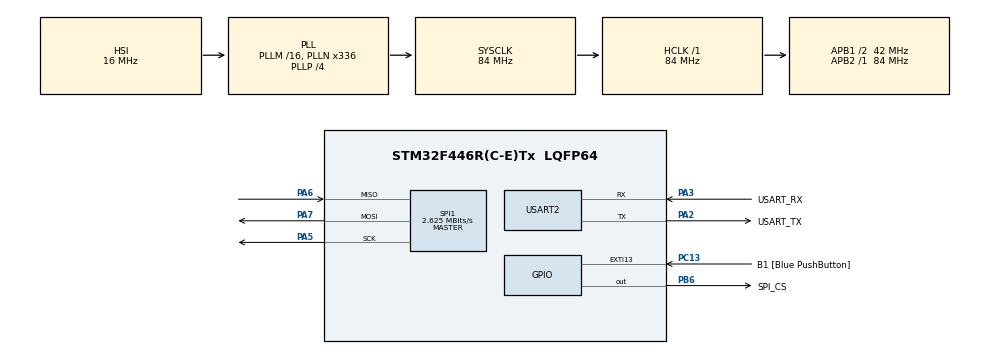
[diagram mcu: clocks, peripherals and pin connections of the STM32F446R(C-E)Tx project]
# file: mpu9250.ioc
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Mcu.Family=STM32F4
Mcu.Name=STM32F446R(C-E)Tx
Mcu.Package=LQFP64
NVIC.PriorityGroup=NVIC_PRIORITYGROUP_0
NVIC.TIM3_IRQn=true\:0\:0\:false\:false\:true\:true\:true\:true
PA13.GPIO_Label=TMS
PA13.Mode=Serial_Wire
PA13.Signal=SYS_JTMS-SWDIO
PA14.GPIO_Label=TCK
PA14.Mode=Serial_Wire
PA14.Signal=SYS_JTCK-SWCLK
PA2.GPIO_Label=USART_TX
PA2.Mode=Asynchronous
PA2.Signal=USART2_TX
PA3.GPIO_Label=USART_RX
PA3.Mode=Asynchronous
PA3.Signal=USART2_RX
PA5.Mode=Full_Duplex_Master
PA5.Signal=SPI1_SCK
PA6.Mode=Full_Duplex_Master
PA6.Signal=SPI1_MISO
PA7.Mode=Full_Duplex_Master
PA7.Signal=SPI1_MOSI
PB3.GPIO_Label=SWO
PB3.Signal=SYS_JTDO-SWO
PB6.GPIO_Label=SPI_CS
PB6.Signal=GPIO_Output
PC13.GPIO_Label=B1 [Blue PushButton]
PC13.GPIO_ModeDefaultEXTI=GPIO_MODE_IT_FALLING
PC13.Signal=GPXTI13
PC14-OSC32_IN.Mode=LSE-External-Oscillator
PC14-OSC32_IN.Signal=RCC_OSC32_IN
PC15-OSC32_OUT.Mode=LSE-External-Oscillator
PC15-OSC32_OUT.Signal=RCC_OSC32_OUT
PH0-OSC_IN.Mode=HSE-External-Oscillator
PH0-OSC_IN.Signal=RCC_OSC_IN
PH1-OSC_OUT.Mode=HSE-External-Oscillator
PH1-OSC_OUT.Signal=RCC_OSC_OUT
ProjectManager.HeapSize=0x200
ProjectManager.StackSize=0x400
ProjectManager.TargetToolchain=STM32CubeIDE
RCC.48MHZClocksFreq_Value=84000000
RCC.AHBFreq_Value=84000000
RCC.APB1CLKDivider=RCC_HCLK_DIV2
RCC.APB1Freq_Value=42000000
RCC.APB1TimFreq_Value=84000000
RCC.APB2Freq_Value=84000000
RCC.APB2TimFreq_Value=84000000
RCC.CortexFreq_Value=84000000
RCC.FLatency-AdvancedSettings=FLASH_LATENCY_2
RCC.HCLKFreq_Value=84000000
RCC.HSE_VALUE=8000000
RCC.HSI_VALUE=16000000
RCC.PLLN=336
RCC.PLLP=RCC_PLLP_DIV4
RCC.SYSCLKFreq_VALUE=84000000
RCC.SYSCLKSource=RCC_SYSCLKSOURCE_PLLCLK
RCC.USBFreq_Value=168000000
RCC.VCOOutputFreq_Value=336000000
SPI1.BaudRatePrescaler=SPI_BAUDRATEPRESCALER_32
SPI1.CLKPhase=SPI_PHASE_2EDGE
SPI1.CLKPolarity=SPI_POLARITY_HIGH
SPI1.CalculateBaudRate=2.625 MBits/s
SPI1.Direction=SPI_DIRECTION_2LINES
SPI1.Mode=SPI_MODE_MASTER
SPI1.VirtualType=VM_MASTER
TIM3.Period=1000-1
TIM3.Prescaler=84-1
USART2.VirtualMode=VM_ASYNC
VP_TIM3_VS_ClockSourceINT.Mode=Internal
board=NUCLEO-F446RE

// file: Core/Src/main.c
/* USER CODE BEGIN Header */
/**
  ******************************************************************************
  * @file           : main.c
  * @brief          : Main program body
  ******************************************************************************
  * @attention
  *
  * Copyright (c) 2023 STMicroelectronics.
  * All rights reserved.
  *
  * This software is licensed under terms that can be found in the LICENSE file
  * in the root directory of this software component.
  * If no LICENSE file comes with this software, it is provided AS-IS.
  *
  ******************************************************************************
  */
/* USER CODE END Header */
#include "main.h"
#include "spi.h"
#include "tim.h"
#include "usart.h"
#include "gpio.h"

/* USER CODE BEGIN Includes */
#include <stdbool.h>
#include <MPU9250.h>
/* USER CODE END Includes */

void SystemClock_Config(void);

/* USER CODE BEGIN 0 */

bool timer_flag = false;
void HAL_TIM_PeriodElapsedCallback(TIM_HandleTypeDef *htim)
{
	if (htim == &htim3)
	{
		timer_flag = true;
	}
}

/* USER CODE END 0 */

int main(void)
{
  /* USER CODE BEGIN 1 */

  float acc_mpss[3], gyro_DPS[3], mag_deg[3];

  /* USER CODE END 1 */

  /* MCU Configuration--------------------------------------------------------*/

  /* Reset of all peripherals, Initializes the Flash interface and the Systick. */
  HAL_Init();

  /* Configure the system clock */
  SystemClock_Config();

  /* Initialize all configured peripherals */
  MX_GPIO_Init();
  MX_USART2_UART_Init();
  MX_SPI1_Init();
  MX_TIM3_Init();
  /* USER CODE BEGIN 2 */

	MPU9250_Init();
	printf("Module Init Complete\r\n");
  MPU9250_Calibrate();
  printf("Calibration Complete\r\n");

  /* USER CODE END 2 */

  /* Infinite loop */
  while (1)
  {

    /* USER CODE BEGIN 3 */
	  MPU9250_GetFineData(acc_mpss, gyro_DPS, mag_deg);

	  // for plotting

	  printf("zero:%f,", 0);
	  printf("accX:%f,", acc_mpss[0]);
	  printf("accY:%f,", acc_mpss[1]);
	  printf("accZ:%f\r\n", acc_mpss[2]);

	  /*
	  printf("zero:%f,", 0);
	  printf("gyroX:%f,", gyro_DPS[0]);
	  printf("gyroY:%f,", gyro_DPS[1]);
	  printf("gyroZ:%f\r\n", gyro_DPS[2]);
	*/
    /*
	  printf("zero:%f,", 0);
	  printf("magX:%f,", mag_deg[0]);
	  printf("magY:%f,", mag_deg[1]);
	  printf("magZ:%f\r\n", mag_deg[2]);
    */

  }
  /* USER CODE END 3 */
}

void SystemClock_Config(void)
{
  RCC_OscInitTypeDef RCC_OscInitStruct = {0};
  RCC_ClkInitTypeDef RCC_ClkInitStruct = {0};

  /** Configure the main internal regulator output voltage
  */
  __HAL_RCC_PWR_CLK_ENABLE();
  __HAL_PWR_VOLTAGESCALING_CONFIG(PWR_REGULATOR_VOLTAGE_SCALE3);

  /** Initializes the RCC Oscillators according to the specified parameters
  * in the RCC_OscInitTypeDef structure.
  */
  RCC_OscInitStruct.OscillatorType = RCC_OSCILLATORTYPE_HSI;
  RCC_OscInitStruct.HSIState = RCC_HSI_ON;
  RCC_OscInitStruct.HSICalibrationValue = RCC_HSICALIBRATION_DEFAULT;
  RCC_OscInitStruct.PLL.PLLState = RCC_PLL_ON;
  RCC_OscInitStruct.PLL.PLLSource = RCC_PLLSOURCE_HSI;
  RCC_OscInitStruct.PLL.PLLM = 16;
  RCC_OscInitStruct.PLL.PLLN = 336;
  RCC_OscInitStruct.PLL.PLLP = RCC_PLLP_DIV4;
  RCC_OscInitStruct.PLL.PLLQ = 2;
  RCC_OscInitStruct.PLL.PLLR = 2;
  if (HAL_RCC_OscConfig(&RCC_OscInitStruct) != HAL_OK)
  {
    Error_Handler();
  }

  /** Initializes the CPU, AHB and APB buses clocks
  */
  RCC_ClkInitStruct.ClockType = RCC_CLOCKTYPE_HCLK|RCC_CLOCKTYPE_SYSCLK
                              |RCC_CLOCKTYPE_PCLK1|RCC_CLOCKTYPE_PCLK2;
  RCC_ClkInitStruct.SYSCLKSource = RCC_SYSCLKSOURCE_PLLCLK;
  RCC_ClkInitStruct.AHBCLKDivider = RCC_SYSCLK_DIV1;
  RCC_ClkInitStruct.APB1CLKDivider = RCC_HCLK_DIV2;
  RCC_ClkInitStruct.APB2CLKDivider = RCC_HCLK_DIV1;

  if (HAL_RCC_ClockConfig(&RCC_ClkInitStruct, FLASH_LATENCY_2) != HAL_OK)
  {
    Error_Handler();
  }
}

void Error_Handler(void)
{
  __disable_irq();
  while (1)
  {
  }
}
